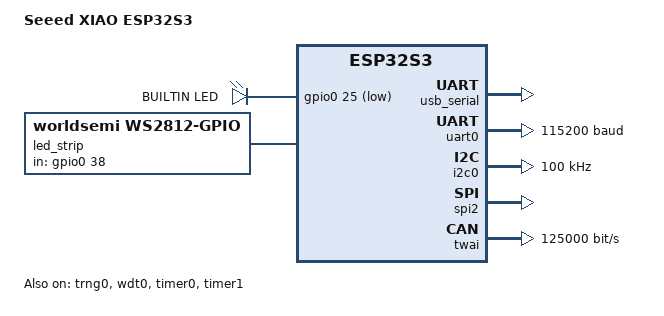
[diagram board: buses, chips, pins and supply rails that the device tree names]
/*
 * Copyright (c) 2023 Seeed Studio inc.
 *
 * SPDX-License-Identifier: Apache-2.0
 */

/dts-v1/;

#include <espressif/esp32s3.dtsi>
#include "esp32s3_devkit_n8r8-pinctrl.dtsi"
#include "seeed_xiao_connector.dtsi"
#include <zephyr/dt-bindings/led/led.h>

/ {
	model = "Seeed XIAO ESP32S3";
	compatible = "seeed,esp32s3_devkit_n8r8";

	chosen {
		zephyr,sram = &sram0;
		zephyr,console = &usb_serial;
		zephyr,shell-uart = &usb_serial;
		zephyr,flash = &flash0;
	};

	aliases {
		i2c-0 = &i2c0;
		watchdog0 = &wdt0;
		led0 = &led0;
	};

	leds {
		compatible = "gpio-leds";
		led0: led_0 {
			gpios = <&gpio0 25 GPIO_ACTIVE_LOW>;
			label = "BUILTIN LED";
		};
	};

	led_strip: ws2812 {
		compatible = "worldsemi,ws2812-gpio";

		chain-length = <1>; /* arbitrary */
		color-mapping = <LED_COLOR_ID_GREEN
				 LED_COLOR_ID_RED
				 LED_COLOR_ID_BLUE>;
		/*
		 * Arduino D11 / P0.25, which was chosen to match the pin
		 * used in nrf52dk_nrf52832.overlay.
		 */
		in-gpios = <&gpio0 38 0>;
	};

};

&cpu0 {
	clock-frequency = <ESP32_CLK_CPU_240M>;
};

&cpu1 {
	clock-frequency = <ESP32_CLK_CPU_240M>;
};

&usb_serial {
	status = "okay";
};

&uart0 {
	status = "okay";
	current-speed = <115200>;
	pinctrl-0 = <&uart0_default>;
	pinctrl-names = "default";
};

&i2c0 {
	status = "okay";
	clock-frequency = <I2C_BITRATE_STANDARD>;
	pinctrl-0 = <&i2c0_default>;
	pinctrl-names = "default";
};

&trng0 {
	status = "okay";
};

&spi2 {
	#address-cells = <1>;
	#size-cells = <0>;
	status = "okay";
	pinctrl-0 = <&spim2_default>;
	pinctrl-names = "default";
};

&gpio0 {
	status = "okay";
};

&wdt0 {
	status = "okay";
};

&twai {
	pinctrl-0 = <&twai_default>;
	pinctrl-names = "default";
	bus-speed = <125000>;
};

&timer0 {
	status = "okay";
};

&timer1 {
	status = "okay";
};

&flash0 {
	status = "okay";
	partitions {
		compatible = "fixed-partitions";
		#address-cells = <1>;
		#size-cells = <1>;

		boot_partition: partition@0 {
			label = "mcuboot";
			reg = <0x00000000 0x0000F000>;
			read-only;
		};

		slot0_partition: partition@10000 {
			label = "image-0";
			reg = <0x00010000 0x00100000>;
		};

		slot1_partition: partition@110000 {
			label = "image-1";
			reg = <0x00110000 0x00100000>;
		};

		scratch_partition: partition@210000 {
			label = "image-scratch";
			reg = <0x00210000 0x00040000>;
		};

		storage_partition: partition@250000 {
			label = "storage";
			reg = <0x00250000 0x00006000>;
		};
	};
};
